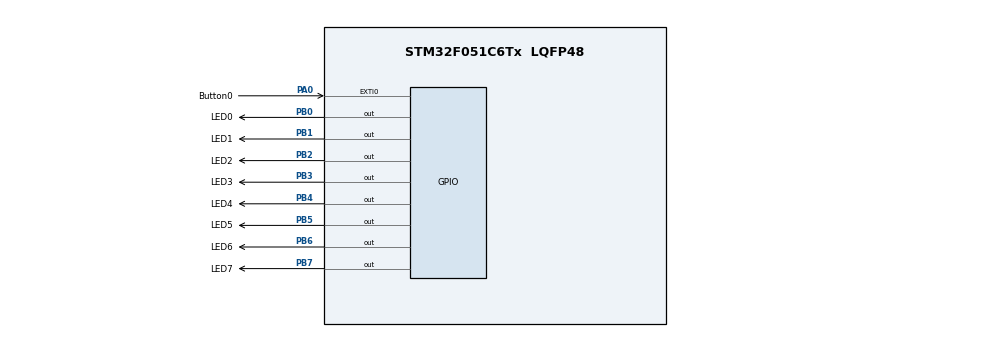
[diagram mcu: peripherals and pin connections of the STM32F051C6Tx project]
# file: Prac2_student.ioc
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Mcu.Family=STM32F0
Mcu.Name=STM32F051C6Tx
Mcu.Package=LQFP48
PA0.GPIO_Label=Button0
PA0.GPIO_PuPd=GPIO_PULLUP
PA0.Signal=GPXTI0
PA13.Mode=Serial_Wire
PA13.Signal=SYS_SWDIO
PA14.Mode=Serial_Wire
PA14.Signal=SYS_SWCLK
PB0.GPIO_Label=LED0
PB0.Signal=GPIO_Output
PB1.GPIO_Label=LED1
PB1.Signal=GPIO_Output
PB2.GPIO_Label=LED2
PB2.Signal=GPIO_Output
PB3.GPIO_Label=LED3
PB3.Signal=GPIO_Output
PB4.GPIO_Label=LED4
PB4.Signal=GPIO_Output
PB5.GPIO_Label=LED5
PB5.Signal=GPIO_Output
PB6.GPIO_Label=LED6
PB6.Signal=GPIO_Output
PB7.GPIO_Label=LED7
PB7.Signal=GPIO_Output
PF0-OSC_IN.Mode=HSE-External-Oscillator
PF0-OSC_IN.Signal=RCC_OSC_IN
PF1-OSC_OUT.Mode=HSE-External-Oscillator
PF1-OSC_OUT.Signal=RCC_OSC_OUT
ProjectManager.HeapSize=0x200
ProjectManager.StackSize=0x400
ProjectManager.TargetToolchain=STM32CubeIDE
TIM16.AutoReloadPreload=TIM_AUTORELOAD_PRELOAD_ENABLE
TIM16.Period=1000-1
TIM16.Prescaler=8000-1
VP_TIM16_VS_ClockSourceINT.Mode=Enable_Timer
board=custom

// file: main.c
/* USER CODE BEGIN Header */
/**
  ******************************************************************************
  * @file           : main.c
  * @brief          : Main program body
  ******************************************************************************
  * @attention
  *
  * Copyright (c) 2023 STMicroelectronics.
  * All rights reserved.
  *
  * This software is licensed under terms that can be found in the LICENSE file
  * in the root directory of this software component.
  * If no LICENSE file comes with this software, it is provided AS-IS.
  *
  ******************************************************************************
  */
/* USER CODE END Header */
#include "main.h"

/* USER CODE BEGIN Includes */
#include <stdint.h>
#include "stm32f0xx.h"
/* USER CODE END Includes */

/* USER CODE BEGIN PD */

// Definitions for SPI usage
#define MEM_SIZE 8192 // bytes
#define WREN 0b00000110 // enable writing
#define WRDI 0b00000100 // disable writing
#define RDSR 0b00000101 // read status register
#define WRSR 0b00000001 // write status register
#define READ 0b00000011
#define WRITE 0b00000010
/* USER CODE END PD */

TIM_HandleTypeDef htim16;

/* USER CODE BEGIN PV */
//
static uint8_t patterns[] = {0b10101010, 0b01010101, 0b11001100, 0b00110011, 0b11110000, 0b00001111};
static uint8_t currentPatt = 0; // for keeping track of pattern
static uint8_t counter = 0; // used in controlling time delay
/* USER CODE END PV */

void SystemClock_Config(void);
static void MX_GPIO_Init(void);
static void MX_TIM16_Init(void);
/* USER CODE BEGIN PFP */
void EXTI0_1_IRQHandler(void);
void TIM16_IRQHandler(void);
static void init_spi(void);
static void write_to_address(uint16_t address, uint8_t data);
static uint8_t read_from_address(uint16_t address);
static void delay(uint32_t delay_in_us);
/* USER CODE END PFP */

int main(void)
{

  /* MCU Configuration--------------------------------------------------------*/

  /* Reset of all peripherals, Initializes the Flash interface and the Systick. */
  HAL_Init();

  /* Configure the system clock */
  SystemClock_Config();

  /* USER CODE BEGIN SysInit */
  init_spi();
  /* USER CODE END SysInit */

  /* Initialize all configured peripherals */
  MX_GPIO_Init();
  MX_TIM16_Init();
  /* USER CODE BEGIN 2 */

  // Starting timer TIM16 in interrupt mode
  HAL_TIM_Base_Start_IT(&htim16);

  // Writing patterns to EEPROM using for loop
for (uint8_t i=0; i<sizeof(patterns); i++){
	write_to_address(i,patterns[i]);
}
  /* USER CODE END 2 */

  /* Infinite loop */
  while (1)
  {

    /* USER CODE BEGIN 3 */

	// Checking if button PA0 is pressed. If so the timer delay changes
	  uint16_t button = HAL_GPIO_ReadPin(GPIOA, GPIO_PIN_0);
	  if (button == GPIO_PIN_RESET){
		  if (counter == 0){
			  TIM16 -> ARR = 999; // 1 second delay
			  counter++;
		  } else {
			  TIM16 -> ARR = 499; // 0.5 second delay
			  counter = counter - 1;
		  }
	  }
  }
  /* USER CODE END 3 */
}

void SystemClock_Config(void)
{
  LL_FLASH_SetLatency(LL_FLASH_LATENCY_0);
  while(LL_FLASH_GetLatency() != LL_FLASH_LATENCY_0)
  {
  }
  LL_RCC_HSI_Enable();

   /* Wait till HSI is ready */
  while(LL_RCC_HSI_IsReady() != 1)
  {

  }
  LL_RCC_HSI_SetCalibTrimming(16);
  LL_RCC_SetAHBPrescaler(LL_RCC_SYSCLK_DIV_1);
  LL_RCC_SetAPB1Prescaler(LL_RCC_APB1_DIV_1);
  LL_RCC_SetSysClkSource(LL_RCC_SYS_CLKSOURCE_HSI);

   /* Wait till System clock is ready */
  while(LL_RCC_GetSysClkSource() != LL_RCC_SYS_CLKSOURCE_STATUS_HSI)
  {

  }
  LL_SetSystemCoreClock(8000000);

   /* Update the time base */
  if (HAL_InitTick (TICK_INT_PRIORITY) != HAL_OK)
  {
    Error_Handler();
  }
}

static void MX_TIM16_Init(void)
{

  htim16.Instance = TIM16;
  htim16.Init.Prescaler = 8000-1;
  htim16.Init.CounterMode = TIM_COUNTERMODE_UP;
  htim16.Init.Period = 1000-1;
  htim16.Init.ClockDivision = TIM_CLOCKDIVISION_DIV1;
  htim16.Init.RepetitionCounter = 0;
  htim16.Init.AutoReloadPreload = TIM_AUTORELOAD_PRELOAD_ENABLE;
  if (HAL_TIM_Base_Init(&htim16) != HAL_OK)
  {
    Error_Handler();
  }
  /* USER CODE BEGIN TIM16_Init 2 */
  NVIC_EnableIRQ(TIM16_IRQn);
  /* USER CODE END TIM16_Init 2 */

}

static void MX_GPIO_Init(void)
{
  LL_EXTI_InitTypeDef EXTI_InitStruct = {0};
  LL_GPIO_InitTypeDef GPIO_InitStruct = {0};

  /* GPIO Ports Clock Enable */
  LL_AHB1_GRP1_EnableClock(LL_AHB1_GRP1_PERIPH_GPIOF);
  LL_AHB1_GRP1_EnableClock(LL_AHB1_GRP1_PERIPH_GPIOA);
  LL_AHB1_GRP1_EnableClock(LL_AHB1_GRP1_PERIPH_GPIOB);

  /**/
  LL_GPIO_ResetOutputPin(LED0_GPIO_Port, LED0_Pin);

  /**/
  LL_GPIO_ResetOutputPin(LED1_GPIO_Port, LED1_Pin);

  /**/
  LL_GPIO_ResetOutputPin(LED2_GPIO_Port, LED2_Pin);

  /**/
  LL_GPIO_ResetOutputPin(LED3_GPIO_Port, LED3_Pin);

  /**/
  LL_GPIO_ResetOutputPin(LED4_GPIO_Port, LED4_Pin);

  /**/
  LL_GPIO_ResetOutputPin(LED5_GPIO_Port, LED5_Pin);

  /**/
  LL_GPIO_ResetOutputPin(LED6_GPIO_Port, LED6_Pin);

  /**/
  LL_GPIO_ResetOutputPin(LED7_GPIO_Port, LED7_Pin);

  /**/
  LL_SYSCFG_SetEXTISource(LL_SYSCFG_EXTI_PORTA, LL_SYSCFG_EXTI_LINE0);

  /**/
  LL_GPIO_SetPinPull(Button0_GPIO_Port, Button0_Pin, LL_GPIO_PULL_UP);

  /**/
  LL_GPIO_SetPinMode(Button0_GPIO_Port, Button0_Pin, LL_GPIO_MODE_INPUT);

  /**/
  EXTI_InitStruct.Line_0_31 = LL_EXTI_LINE_0;
  EXTI_InitStruct.LineCommand = ENABLE;
  EXTI_InitStruct.Mode = LL_EXTI_MODE_IT;
  EXTI_InitStruct.Trigger = LL_EXTI_TRIGGER_RISING;
  LL_EXTI_Init(&EXTI_InitStruct);

  /**/
  GPIO_InitStruct.Pin = LED0_Pin;
  GPIO_InitStruct.Mode = LL_GPIO_MODE_OUTPUT;
  GPIO_InitStruct.Speed = LL_GPIO_SPEED_FREQ_LOW;
  GPIO_InitStruct.OutputType = LL_GPIO_OUTPUT_PUSHPULL;
  GPIO_InitStruct.Pull = LL_GPIO_PULL_NO;
  LL_GPIO_Init(LED0_GPIO_Port, &GPIO_InitStruct);

  /**/
  GPIO_InitStruct.Pin = LED1_Pin;
  GPIO_InitStruct.Mode = LL_GPIO_MODE_OUTPUT;
  GPIO_InitStruct.Speed = LL_GPIO_SPEED_FREQ_LOW;
  GPIO_InitStruct.OutputType = LL_GPIO_OUTPUT_PUSHPULL;
  GPIO_InitStruct.Pull = LL_GPIO_PULL_NO;
  LL_GPIO_Init(LED1_GPIO_Port, &GPIO_InitStruct);

  /**/
  GPIO_InitStruct.Pin = LED2_Pin;
  GPIO_InitStruct.Mode = LL_GPIO_MODE_OUTPUT;
  GPIO_InitStruct.Speed = LL_GPIO_SPEED_FREQ_LOW;
  GPIO_InitStruct.OutputType = LL_GPIO_OUTPUT_PUSHPULL;
  GPIO_InitStruct.Pull = LL_GPIO_PULL_NO;
  LL_GPIO_Init(LED2_GPIO_Port, &GPIO_InitStruct);

  /**/
  GPIO_InitStruct.Pin = LED3_Pin;
  GPIO_InitStruct.Mode = LL_GPIO_MODE_OUTPUT;
  GPIO_InitStruct.Speed = LL_GPIO_SPEED_FREQ_LOW;
  GPIO_InitStruct.OutputType = LL_GPIO_OUTPUT_PUSHPULL;
  GPIO_InitStruct.Pull = LL_GPIO_PULL_NO;
  LL_GPIO_Init(LED3_GPIO_Port, &GPIO_InitStruct);

  /**/
  GPIO_InitStruct.Pin = LED4_Pin;
  GPIO_InitStruct.Mode = LL_GPIO_MODE_OUTPUT;
  GPIO_InitStruct.Speed = LL_GPIO_SPEED_FREQ_LOW;
  GPIO_InitStruct.OutputType = LL_GPIO_OUTPUT_PUSHPULL;
  GPIO_InitStruct.Pull = LL_GPIO_PULL_NO;
  LL_GPIO_Init(LED4_GPIO_Port, &GPIO_InitStruct);

  /**/
  GPIO_InitStruct.Pin = LED5_Pin;
  GPIO_InitStruct.Mode = LL_GPIO_MODE_OUTPUT;
  GPIO_InitStruct.Speed = LL_GPIO_SPEED_FREQ_LOW;
  GPIO_InitStruct.OutputType = LL_GPIO_OUTPUT_PUSHPULL;
  GPIO_InitStruct.Pull = LL_GPIO_PULL_NO;
  LL_GPIO_Init(LED5_GPIO_Port, &GPIO_InitStruct);

  /**/
  GPIO_InitStruct.Pin = LED6_Pin;
  GPIO_InitStruct.Mode = LL_GPIO_MODE_OUTPUT;
  GPIO_InitStruct.Speed = LL_GPIO_SPEED_FREQ_LOW;
  GPIO_InitStruct.OutputType = LL_GPIO_OUTPUT_PUSHPULL;
  GPIO_InitStruct.Pull = LL_GPIO_PULL_NO;
  LL_GPIO_Init(LED6_GPIO_Port, &GPIO_InitStruct);

  /**/
  GPIO_InitStruct.Pin = LED7_Pin;
  GPIO_InitStruct.Mode = LL_GPIO_MODE_OUTPUT;
  GPIO_InitStruct.Speed = LL_GPIO_SPEED_FREQ_LOW;
  GPIO_InitStruct.OutputType = LL_GPIO_OUTPUT_PUSHPULL;
  GPIO_InitStruct.Pull = LL_GPIO_PULL_NO;
  LL_GPIO_Init(LED7_GPIO_Port, &GPIO_InitStruct);

}

/* USER CODE BEGIN 4 */

// Initialise SPI
static void init_spi(void) {

  // Clock to PB
  RCC->AHBENR |= RCC_AHBENR_GPIOBEN; 	// Enable clock for SPI port

  // Set pin modes
  GPIOB->MODER |= GPIO_MODER_MODER13_1; // Set pin SCK (PB13) to Alternate Function
  GPIOB->MODER |= GPIO_MODER_MODER14_1; // Set pin MISO (PB14) to Alternate Function
  GPIOB->MODER |= GPIO_MODER_MODER15_1; // Set pin MOSI (PB15) to Alternate Function
  GPIOB->MODER |= GPIO_MODER_MODER12_0; // Set pin CS (PB12) to output push-pull
  GPIOB->BSRR |= GPIO_BSRR_BS_12; 		// Pull CS high

  // Clock enable to SPI
  RCC->APB1ENR |= RCC_APB1ENR_SPI2EN;
  SPI2->CR1 |= SPI_CR1_BIDIOE; 									// Enable output
  SPI2->CR1 |= (SPI_CR1_BR_0 |  SPI_CR1_BR_1); 					// Set Baud to fpclk / 16
  SPI2->CR1 |= SPI_CR1_MSTR; 									// Set to master mode
  SPI2->CR2 |= SPI_CR2_FRXTH; 									// Set RX threshold to be 8 bits
  SPI2->CR2 |= SPI_CR2_SSOE; 									// Enable slave output to work in master mode
  SPI2->CR2 |= (SPI_CR2_DS_0 | SPI_CR2_DS_1 | SPI_CR2_DS_2); 	// Set to 8-bit mode
  SPI2->CR1 |= SPI_CR1_SPE; 									// Enable the SPI peripheral
}

// Implements a delay in microseconds
static void delay(uint32_t delay_in_us) {
  volatile uint32_t counter = 0;
  delay_in_us *= 3;
  for(; counter < delay_in_us; counter++) {
    __asm("nop");
    __asm("nop");
  }
}

// Write to EEPROM address using SPI
static void write_to_address(uint16_t address, uint8_t data) {

	uint8_t dummy; // Junk from the DR

	// Set the Write Enable latch
	GPIOB->BSRR |= GPIO_BSRR_BR_12; // Pull CS low
	delay(1);
	*((uint8_t*)(&SPI2->DR)) = WREN;
	while ((SPI2->SR & SPI_SR_RXNE) == 0); // Hang while RX is empty
	dummy = SPI2->DR;
	GPIOB->BSRR |= GPIO_BSRR_BS_12; // Pull CS high
	delay(5000);

	// Send write instruction
	GPIOB->BSRR |= GPIO_BSRR_BR_12; 			// Pull CS low
	delay(1);
	*((uint8_t*)(&SPI2->DR)) = WRITE;
	while ((SPI2->SR & SPI_SR_RXNE) == 0); 		// Hang while RX is empty
	dummy = SPI2->DR;

	// Send 16-bit address
	*((uint8_t*)(&SPI2->DR)) = (address >> 8); 	// Address MSB
	while ((SPI2->SR & SPI_SR_RXNE) == 0); 		// Hang while RX is empty
	dummy = SPI2->DR;
	*((uint8_t*)(&SPI2->DR)) = (address); 		// Address LSB
	while ((SPI2->SR & SPI_SR_RXNE) == 0); 		// Hang while RX is empty
	dummy = SPI2->DR;

	// Send the data
	*((uint8_t*)(&SPI2->DR)) = data;
	while ((SPI2->SR & SPI_SR_RXNE) == 0); // Hang while RX is empty
	dummy = SPI2->DR;
	GPIOB->BSRR |= GPIO_BSRR_BS_12; // Pull CS high
	delay(5000);
}

// Read from EEPROM address using SPI
static uint8_t read_from_address(uint16_t address) {

	uint8_t dummy; // Junk from the DR

	// Send the read instruction
	GPIOB->BSRR |= GPIO_BSRR_BR_12; 			// Pull CS low
	delay(1);
	*((uint8_t*)(&SPI2->DR)) = READ;
	while ((SPI2->SR & SPI_SR_RXNE) == 0); 		// Hang while RX is empty
	dummy = SPI2->DR;

	// Send 16-bit address
	*((uint8_t*)(&SPI2->DR)) = (address >> 8); 	// Address MSB
	while ((SPI2->SR & SPI_SR_RXNE) == 0);		// Hang while RX is empty
	dummy = SPI2->DR;
	*((uint8_t*)(&SPI2->DR)) = (address); 		// Address LSB
	while ((SPI2->SR & SPI_SR_RXNE) == 0); 		// Hang while RX is empty
	dummy = SPI2->DR;

	// Clock in the data
	*((uint8_t*)(&SPI2->DR)) = 0x42; 			    // Clock out some junk data
	while ((SPI2->SR & SPI_SR_RXNE) == 0); 		// Hang while RX is empty
	dummy = SPI2->DR;
	GPIOB->BSRR |= GPIO_BSRR_BS_12; 			    // Pull CS high
	delay(5000);

	return dummy;								              // Return read data
}

// Timer rolled over
void TIM16_IRQHandler(void)
{
	// Acknowledge interrupt
	HAL_TIM_IRQHandler(&htim16);

	// Changing the LED pattern
	uint8_t led = read_from_address(currentPatt);

	if (led != patterns[currentPatt]){
		led = 0b00000001;
	} // indicates SPI failure

	GPIOB -> ODR = led; // pattern going to the LEDs
	if (currentPatt == 5){
		currentPatt = 0;
	}
	else{
		currentPatt = currentPatt + 1 ;
	} // makes sure the pattern repeats itself

}

/* USER CODE END 4 */

void Error_Handler(void)
{
  __disable_irq();
  while (1)
  {
  }
}
